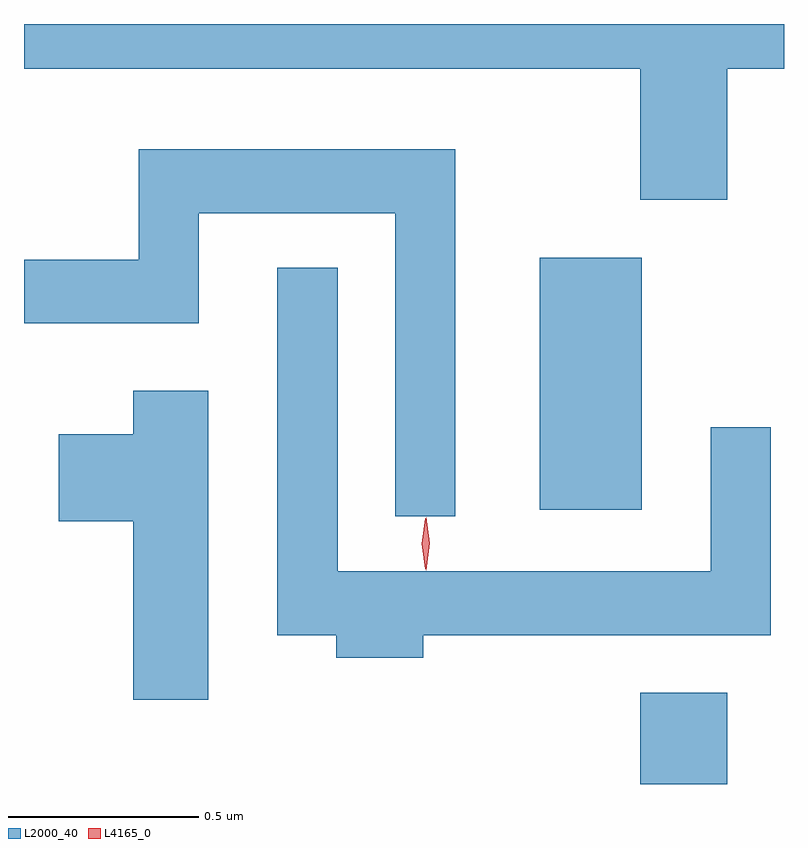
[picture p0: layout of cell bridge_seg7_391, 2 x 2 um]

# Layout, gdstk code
import gdstk
lib = gdstk.Library(unit=1e-6, precision=1e-09)
def R(c, l, rs):  # rectangles x0, y0, x1, y1
    for r in rs: c.add(gdstk.rectangle(r[:2], r[2:], *l))
def P(c, l, *ps):  # polygons
    for p in ps: c.add(gdstk.Polygon(p, *l))
L2000_40 = (2000, 40)
L4165_0 = (4165, 0)

bridge_seg7_391 = lib.new_cell('bridge_seg7_391')
R(bridge_seg7_391, L2000_40, [(1139.781,1739.074,1140.009,1739.314), (1139.516,1739.796,1139.784,1740.459)])
P(bridge_seg7_391, L2000_40, [(1140.009,1740.956),(1140.159,1740.956),(1140.159,1741.074),(1138.159,1741.074),(1138.159,1740.956),(1139.781,1740.956),(1139.781,1740.611),(1140.009,1740.611)],
  [(1139.294,1740.744),(1138.461,1740.744),(1138.461,1740.454),(1138.159,1740.454),(1138.159,1740.286),(1138.619,1740.286),(1138.619,1740.576),(1139.136,1740.576),(1139.136,1739.778),(1139.294,1739.778)],
  [(1139.209,1739.466),(1140.124,1739.466),(1140.124,1740.013),(1139.966,1740.013),(1139.966,1739.634),(1138.984,1739.634),(1138.984,1740.433),(1138.826,1740.433),(1138.826,1739.466),(1138.981,1739.466),(1138.981,1739.406),(1139.209,1739.406)],
  [(1138.644,1740.109),(1138.446,1740.109),(1138.446,1739.994),(1138.251,1739.994),(1138.251,1739.766),(1138.446,1739.766),(1138.446,1739.296),(1138.644,1739.296)])
P(bridge_seg7_391, L4165_0, [(1139.217,1739.637),(1139.217,1739.637),(1139.207,1739.707),(1139.217,1739.776),(1139.217,1739.776),(1139.218,1739.776),(1139.227,1739.707),(1139.218,1739.637)],
  [(1139.216,1739.639),(1139.215,1739.64),(1139.206,1739.706),(1139.215,1739.772),(1139.216,1739.773),(1139.216,1739.772),(1139.226,1739.706),(1139.216,1739.64)])

lib.write_gds('bridge_seg7_391.gds')
